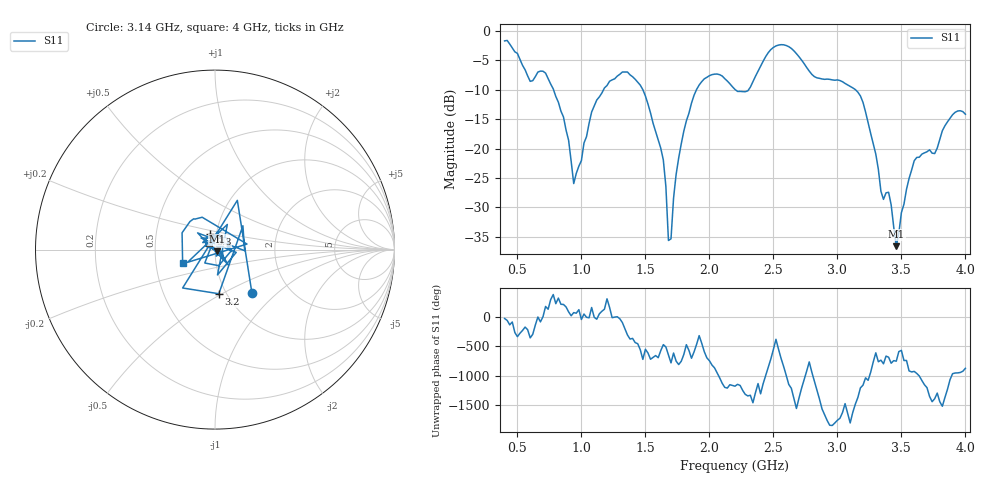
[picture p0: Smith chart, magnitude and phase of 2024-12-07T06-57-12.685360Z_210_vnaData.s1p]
!Created with skrf (http://scikit-rf.org).
# Hz S RI R 50.0
!freq ReS11 ImS11
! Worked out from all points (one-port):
!   181 points, 400 MHz to 4 GHz, reference 50 ohm
!   lowest |S11| = -36.6 dB at 3.46 GHz (marker M1), VSWR 1.03, Z = 51.2 - j0.879 ohm
!   |S11| at or under -10 dB: 782.2 MHz to 1.173 GHz (390.8 MHz wide, 40 % of centre); 1.48 GHz to 1.899 GHz (418.9 MHz wide, 24.8 % of centre); 3.141 GHz to end of sweep (the widest 3 of 4)
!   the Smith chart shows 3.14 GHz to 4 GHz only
!   S11 on the Smith chart (normalised r, x): 3.14 GHz: 1.30, -0.70; 3.2 GHz: 0.92, -0.48; 3.3 GHz: 0.93, +0.16; 4 GHz: 0.69, -0.11
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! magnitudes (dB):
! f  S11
! 400 MHz  -1.7
! 600 MHz  -8.6
! 720 MHz  -7.2
! 860 MHz  -14.6
! 940 MHz  -26.0
! 1.08 GHz  -13.8
! 1.3 GHz  -7.4
! 1.52 GHz  -12.4
! 1.64 GHz  -21.9
! 1.68 GHz  -35.6
! 1.7 GHz  -35.3
! 1.72 GHz  -28.4
! 1.76 GHz  -21.6
! 1.94 GHz  -8.6
! 2.2 GHz  -10.0
! 2.3 GHz  -10.2
! 2.5 GHz  -2.8
! 2.66 GHz  -3.4
! 3.1 GHz  -9.4
! 3.14 GHz  -10.0
! 3.2 GHz  -12.2
! 3.3 GHz  -20.9
! 3.36 GHz  -28.6
! 3.4 GHz  -27.4
! 3.46 GHz  -36.6
! 3.56 GHz  -25.1
! 3.9 GHz  -14.2
! 4 GHz  -14.2
